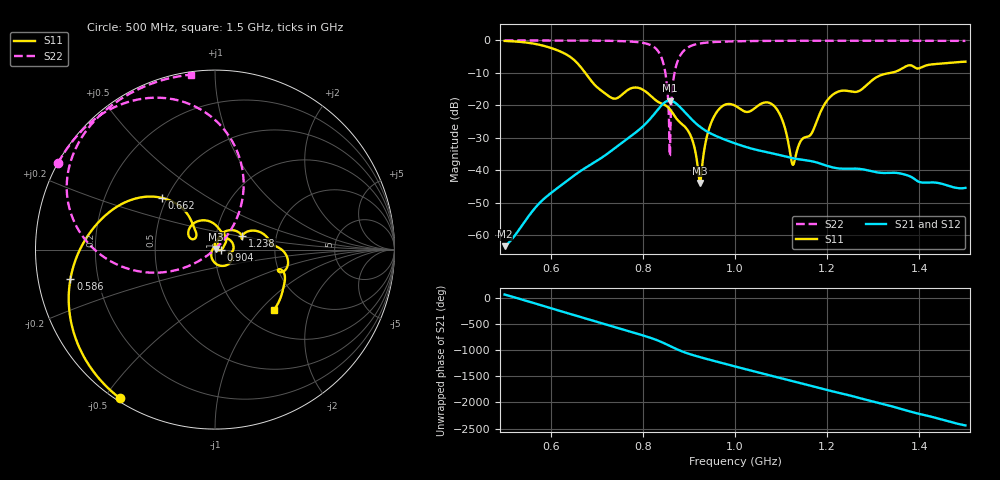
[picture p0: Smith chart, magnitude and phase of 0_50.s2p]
! TOUCHSTONE file generated by CST MICROWAVE STUDIO
! Date and time: Mon Sep 28 15:36:34 2020
! Project name: Scenario_1_Free_SPace.cst
! Parameters = {dx1=1021.9; L_HA=400; MT=2.54; Rad_Dielectric=30; Rad_Lower=7.3; Rad_Upper=30; a_HA=580; a_WG=246; b_HA=500; b_WG=121; c_HA=0; c_WG=187; d_feed=85; h_feed=15; h_lower=18; h_upper=40}
! Header version: 2018
! Port assignment regex: !\s*Touchstone port\s*([0-9]+)\s*=\s*(CST MWS port|CST DS port)\s*([0-9]+|Zmin|Zmax)\s*\(\"(.*)\"\)(\s*mode\s*([0-9]+))?.*
! Touchstone port assignment:
! Touchstone port 1 = CST MWS port 1 ("")
! Touchstone port 2 = CST MWS port 2 ("")
# GHz S DB R 50
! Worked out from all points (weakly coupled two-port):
!   1003 points, 500 MHz to 1.5 GHz, reference 50 ohm
!   highest |S21| = -18.53 dB at 858 MHz (marker M1); lowest = -63.4 dB at 500 MHz (marker M2)
!   lowest |S11| = -43.9 dB at 924 MHz (marker M3), VSWR 1.01, Z = 50.5 + j0.428 ohm
!   |S11| at or under -10 dB: 674.9 MHz to 1.338 GHz (663.2 MHz wide, 65.9 % of centre)
!   |S22| runs from -35.5 to 0.0 dB; largest |S21 - S12| = 0.00011
!   S11 on the Smith chart (normalised r, x): 500 MHz: 0.01, -0.55; 586 MHz: 0.10, -0.10; 662 MHz: 0.47, +0.33; 904 MHz: 1.07, -0.00; 1.238 GHz: 1.34, +0.21; 1.5 GHz: 1.37, -1.19
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0.5  -0.15 -122.6  -63.43 56.5  -63.43 56.5  -0.01 151.1
0.586  -1.70 -168.5  -48.76 -166.5  -48.76 -166.5  -0.02 145.1
0.662  -7.66 135.8  -40.52 -5.0  -40.52 -5.0  -0.04 138.8
0.667  -8.52 132.7  -40.05 -18.2  -40.05 -18.2  -0.04 138.3
0.733  -17.77 143.5  -33.88 174.5  -33.88 174.5  -0.13 130.3
0.779  -14.56 137.6  -28.97 53.7  -28.97 53.7  -0.40 120.7
0.834  -19.02 75.5  -21.06 -104.5  -21.06 -104.5  -3.50 85.4
0.848  -19.94 60.5  -19.04 -158.9  -19.04 -158.9  -9.29 62.9
0.858  -21.10 45.2  -18.53 158.3  -18.53 158.3  -35.54 48.2
0.874  -24.29 27.7  -19.64 92.4  -19.64 92.4  -7.01 -164.4
0.904  -29.44 -2.9  -24.05 -5.2  -24.05 -5.2  -1.71 166.6
0.924  -43.91 41.7  -26.61 -56.9  -26.61 -56.9  -0.93 156.9
0.954  -23.59 68.7  -29.15 -127.8  -29.15 -127.8  -0.50 148.1
1  -20.10 -4.5  -31.74 125.5  -31.74 125.5  -0.27 140.3
1.084  -20.09 -67.0  -34.91 -64.2  -34.91 -64.2  -0.13 131.1
1.104  -25.05 -106.1  -35.59 -109.5  -35.59 -109.5  -0.12 129.3
1.126  -38.37 139.1  -36.32 -158.3  -36.32 -158.2  -0.11 127.5
1.167  -28.48 63.2  -37.25 109.6  -37.26 109.6  -0.10 124.2
1.201  -18.32 58.8  -38.71 33.1  -38.71 33.1  -0.09 121.5
1.238  -15.47 26.6  -39.56 -43.5  -39.56 -43.5  -0.08 118.7
1.334  -10.10 7.4  -40.83 100.4  -40.83 100.4  -0.09 111.4
1.5  -6.55 -46.0  -45.46 80.5  -45.51 80.1  -0.14 97.9
